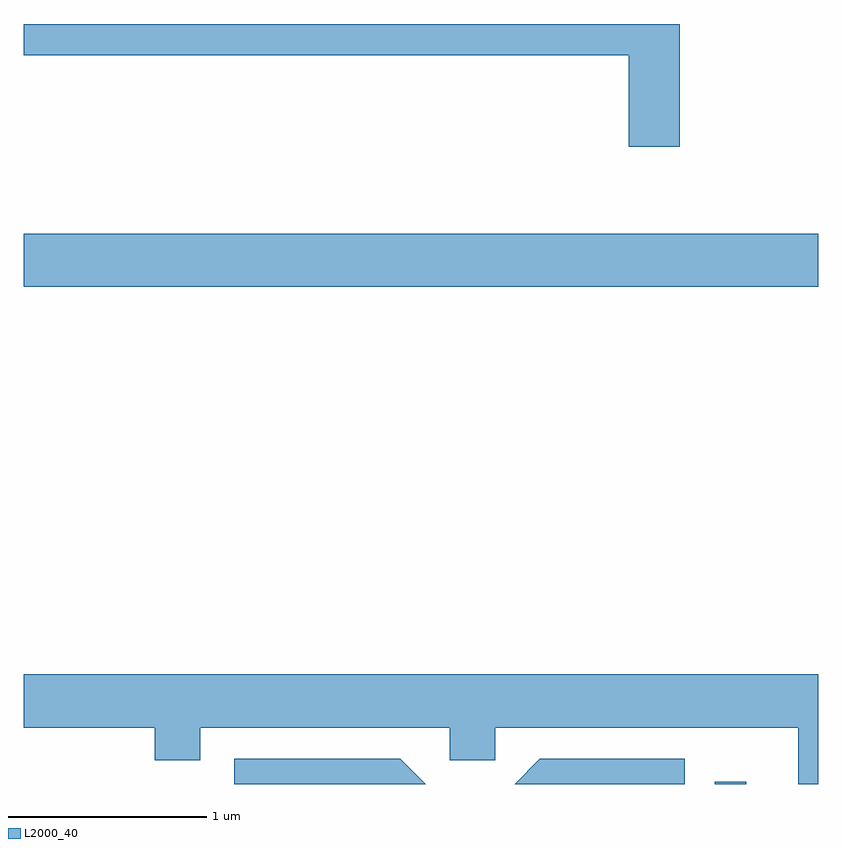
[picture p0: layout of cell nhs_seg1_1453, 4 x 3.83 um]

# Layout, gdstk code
import gdstk
lib = gdstk.Library(unit=1e-6, precision=1e-09)
def R(c, l, rs):  # rectangles x0, y0, x1, y1
    for r in rs: c.add(gdstk.rectangle(r[:2], r[2:], *l))
def P(c, l, *ps):  # polygons
    for p in ps: c.add(gdstk.Polygon(p, *l))
L2000_40 = (2000, 40)

nhs_seg1_1453 = lib.new_cell('nhs_seg1_1453')
R(nhs_seg1_1453, L2000_40, [(233.091,923.712,233.249,923.723), (229.611,926.216,233.611,926.484)])
P(nhs_seg1_1453, L2000_40, [(232.914,927.539),(229.611,927.539),(229.611,927.381),(232.656,927.381),(232.656,926.921),(232.914,926.921)],
  [(233.611,924.264),(229.611,924.264),(229.611,923.996),(230.271,923.996),(230.271,923.831),(230.499,923.831),(230.499,923.996),(231.756,923.996),(231.756,923.831),(231.984,923.831),(231.984,923.996),(233.511,923.996),(233.511,923.712),(233.611,923.712)],
  [(232.939,923.839),(232.209,923.839),(232.082,923.712),(232.939,923.712)],
  [(231.507,923.839),(230.671,923.839),(230.671,923.712),(231.634,923.712)])

lib.write_gds('nhs_seg1_1453.gds')
